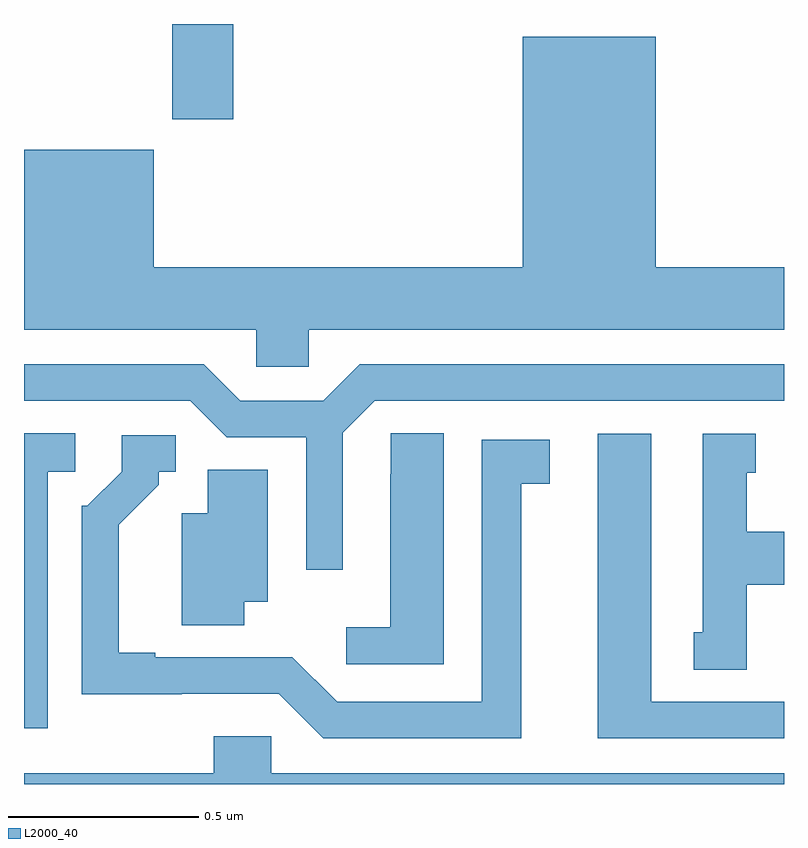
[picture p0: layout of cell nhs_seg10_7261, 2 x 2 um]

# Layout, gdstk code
import gdstk
lib = gdstk.Library(unit=1e-6, precision=1e-09)
def R(c, l, rs):  # rectangles x0, y0, x1, y1
    for r in rs: c.add(gdstk.rectangle(r[:2], r[2:], *l))
def P(c, l, *ps):  # polygons
    for p in ps: c.add(gdstk.Polygon(p, *l))
L2000_40 = (2000, 40)

nhs_seg10_7261 = lib.new_cell('nhs_seg10_7261')
R(nhs_seg10_7261, L2000_40, [(202.39,1254.249,202.55,1254.5)])
P(nhs_seg10_7261, L2000_40, [(203.312,1254.466),(203.312,1253.86),(202.342,1253.86),(202.342,1254.169),(202,1254.169),(202,1253.696),(202.611,1253.696),(202.611,1253.598),(202.749,1253.598),(202.749,1253.696),(204,1253.696),(204,1253.86),(203.662,1253.86),(203.662,1254.466)],
  [(202.839,1253.424),(202.923,1253.508),(204,1253.508),(204,1253.604),(202.883,1253.604),(202.787,1253.508),(202.569,1253.508),(202.473,1253.604),(202,1253.604),(202,1253.508),(202.437,1253.508),(202.533,1253.412),(202.743,1253.412),(202.743,1253.064),(202.839,1253.064)],
  [(202.062,1253.322),(202.135,1253.322),(202.135,1253.423),(202,1253.423),(202,1252.647),(202.062,1252.647)],
  [(203.104,1253.423),(202.965,1253.423),(202.965,1253.315),(202.964,1253.315),(202.964,1252.912),(202.848,1252.912),(202.848,1252.815),(203.104,1252.815)],
  [(204,1252.716),(203.65,1252.716),(203.65,1253.422),(203.51,1253.422),(203.51,1252.62),(204,1252.62)],
  [(203.902,1253.024),(204,1253.024),(204,1253.164),(203.902,1253.164),(203.902,1253.319),(203.926,1253.319),(203.926,1253.422),(203.786,1253.422),(203.786,1252.899),(203.762,1252.899),(203.762,1252.801),(203.902,1252.801)],
  [(203.308,1253.29),(203.383,1253.29),(203.383,1253.406),(203.204,1253.406),(203.204,1252.716),(202.824,1252.716),(202.706,1252.834),(202.61,1252.834),(202.61,1252.833),(202.345,1252.833),(202.345,1252.846),(202.249,1252.846),(202.249,1253.182),(202.354,1253.287),(202.354,1253.322),(202.399,1253.322),(202.399,1253.418),(202.257,1253.418),(202.257,1253.322),(202.167,1253.232),(202.152,1253.232),(202.152,1252.736),(202.415,1252.736),(202.415,1252.737),(202.671,1252.737),(202.788,1252.62),(203.308,1252.62)],
  [(202.579,1252.979),(202.642,1252.979),(202.642,1253.327),(202.484,1253.327),(202.484,1253.212),(202.415,1253.212),(202.415,1252.918),(202.579,1252.918)],
  [(204,1252.528),(202.65,1252.528),(202.65,1252.626),(202.499,1252.626),(202.499,1252.528),(202,1252.528),(202,1252.5),(204,1252.5)])

lib.write_gds('nhs_seg10_7261.gds')
